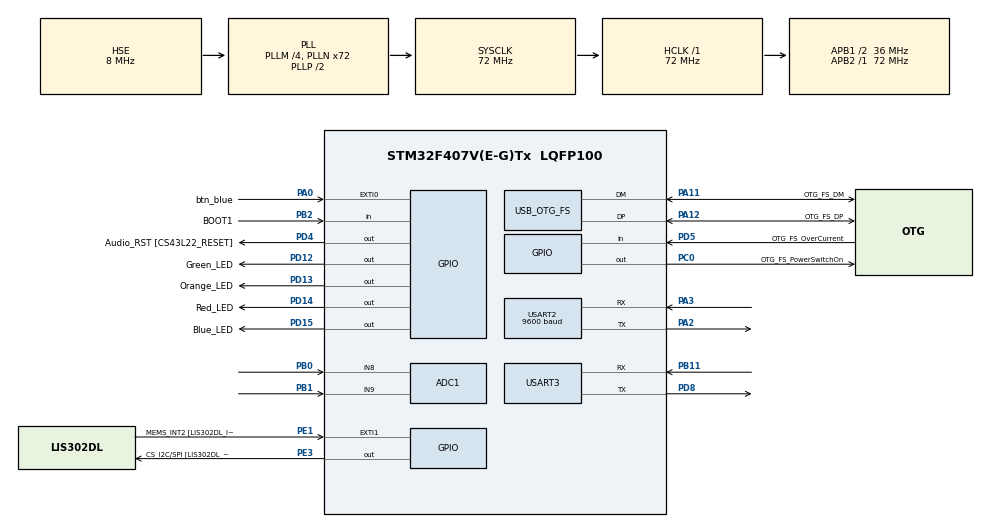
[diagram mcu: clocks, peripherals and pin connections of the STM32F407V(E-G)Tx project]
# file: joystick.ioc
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ADC1.Channel-6\#ChannelRegularConversion=ADC_CHANNEL_8
ADC1.Channel-7\#ChannelRegularConversion=ADC_CHANNEL_9
ADC1.NbrOfConversion=2
ADC1.NbrOfConversionFlag=1
ADC1.Rank-6\#ChannelRegularConversion=1
ADC1.Rank-7\#ChannelRegularConversion=2
ADC1.SamplingTime-6\#ChannelRegularConversion=ADC_SAMPLETIME_3CYCLES
ADC1.SamplingTime-7\#ChannelRegularConversion=ADC_SAMPLETIME_3CYCLES
ADC1.master=1
Mcu.Family=STM32F4
Mcu.Name=STM32F407V(E-G)Tx
Mcu.Package=LQFP100
NVIC.OTG_FS_IRQn=true\:0\:0\:false\:false\:true\:false\:true
NVIC.PriorityGroup=NVIC_PRIORITYGROUP_4
NVIC.TIM7_IRQn=true\:0\:0\:false\:false\:true\:false\:true
NVIC.TimeBase=TIM7_IRQn
NVIC.TimeBaseIP=TIM7
PA0-WKUP.GPIO_Label=btn_blue
PA0-WKUP.Signal=GPXTI0
PA10.GPIO_Label=OTG_FS_ID
PA10.GPIO_Mode=GPIO_MODE_AF_PP
PA10.GPIO_PuPd=GPIO_NOPULL
PA10.GPIO_Speed=GPIO_SPEED_FREQ_LOW
PA10.Signal=USB_OTG_FS_ID
PA11.GPIO_Label=OTG_FS_DM
PA11.GPIO_Mode=GPIO_MODE_AF_PP
PA11.GPIO_PuPd=GPIO_NOPULL
PA11.GPIO_Speed=GPIO_SPEED_FREQ_LOW
PA11.Mode=Device_Only
PA11.Signal=USB_OTG_FS_DM
PA12.GPIO_Label=OTG_FS_DP
PA12.GPIO_Mode=GPIO_MODE_AF_PP
PA12.GPIO_PuPd=GPIO_NOPULL
PA12.GPIO_Speed=GPIO_SPEED_FREQ_LOW
PA12.Mode=Device_Only
PA12.Signal=USB_OTG_FS_DP
PA13.GPIO_Label=SWDIO
PA13.Mode=Serial_Wire
PA13.Signal=SYS_JTMS-SWDIO
PA14.GPIO_Label=SWCLK
PA14.Mode=Serial_Wire
PA14.Signal=SYS_JTCK-SWCLK
PA2.Mode=Asynchronous
PA2.Signal=USART2_TX
PA3.Mode=Asynchronous
PA3.Signal=USART2_RX
PA4.GPIO_Label=I2S3_WS [CS43L22_LRCK]
PA4.GPIO_Mode=GPIO_MODE_AF_PP
PA4.GPIO_PuPd=GPIO_NOPULL
PA4.GPIO_Speed=GPIO_SPEED_FREQ_LOW
PA4.Signal=I2S3_WS
PA5.GPIO_Label=SPI1_SCK [LIS302DL_SCL/SPC]
PA5.GPIO_Mode=GPIO_MODE_AF_PP
PA5.GPIO_PuPd=GPIO_NOPULL
PA5.GPIO_Speed=GPIO_SPEED_FREQ_LOW
PA5.Signal=SPI1_SCK
PA6.GPIO_Label=SPI1_MISO [LIS302DL_SDO]
PA6.GPIO_Mode=GPIO_MODE_AF_PP
PA6.GPIO_PuPd=GPIO_NOPULL
PA6.GPIO_Speed=GPIO_SPEED_FREQ_LOW
PA6.Signal=SPI1_MISO
PA7.GPIO_Label=SPI1_MOSI [LIS302DL_SDA/SDI/SDO]
PA7.GPIO_Mode=GPIO_MODE_AF_PP
PA7.GPIO_PuPd=GPIO_NOPULL
PA7.GPIO_Speed=GPIO_SPEED_FREQ_LOW
PA7.Signal=SPI1_MOSI
PA9.GPIO_Label=VBUS_FS
PA9.GPIO_Mode=GPIO_MODE_INPUT
PA9.GPIO_PuPd=GPIO_NOPULL
PA9.Signal=USB_OTG_FS_VBUS
PB0.Signal=ADCx_IN8
PB1.Signal=ADCx_IN9
PB10.GPIO_Label=CLK_IN [MP45DT02_CLK]
PB10.GPIO_Mode=GPIO_MODE_AF_PP
PB10.GPIO_PuPd=GPIO_NOPULL
PB10.GPIO_Speed=GPIO_SPEED_FREQ_LOW
PB10.Signal=I2S2_CK
PB11.Mode=Asynchronous
PB11.Signal=USART3_RX
PB2.GPIO_Label=BOOT1
PB2.GPIO_Mode=GPIO_MODE_INPUT
PB2.GPIO_PuPd=GPIO_NOPULL
PB2.Signal=GPIO_Input
PB3.GPIO_Label=SWO
PB3.Signal=SYS_JTDO-SWO
PB6.GPIO_Label=Audio_SCL [CS43L22_SCL]
PB6.GPIO_Mode=GPIO_MODE_AF_OD
PB6.GPIO_PuPd=GPIO_NOPULL
PB6.GPIO_Speed=GPIO_SPEED_FREQ_LOW
PB6.Signal=I2C1_SCL
PB9.GPIO_Label=Audio_SDA [CS43L22_SDA]
PB9.GPIO_Mode=GPIO_MODE_AF_OD
PB9.GPIO_PuPd=GPIO_NOPULL
PB9.GPIO_Speed=GPIO_SPEED_FREQ_LOW
PB9.Signal=I2C1_SDA
PC0.GPIO_Label=OTG_FS_PowerSwitchOn
PC0.GPIO_PuPd=GPIO_NOPULL
PC0.GPIO_Speed=GPIO_SPEED_FREQ_LOW
PC0.PinState=GPIO_PIN_SET
PC0.Signal=GPIO_Output
PC10.GPIO_Label=I2S3_SCK [CS43L22_SCLK]
PC10.GPIO_Mode=GPIO_MODE_AF_PP
PC10.GPIO_PuPd=GPIO_NOPULL
PC10.GPIO_Speed=GPIO_SPEED_FREQ_LOW
PC10.Signal=I2S3_CK
PC12.GPIO_Label=I2S3_SD [CS43L22_SDIN]
PC12.GPIO_Mode=GPIO_MODE_AF_PP
PC12.GPIO_PuPd=GPIO_NOPULL
PC12.GPIO_Speed=GPIO_SPEED_FREQ_LOW
PC12.Signal=I2S3_SD
PC14-OSC32_IN.GPIO_Label=PC14-OSC32_IN
PC14-OSC32_IN.Signal=RCC_OSC32_IN
PC15-OSC32_OUT.GPIO_Label=PC15-OSC32_OUT
PC15-OSC32_OUT.Signal=RCC_OSC32_OUT
PC3.GPIO_Label=PDM_OUT [MP45DT02_DOUT]
PC3.GPIO_Mode=GPIO_MODE_AF_PP
PC3.GPIO_PuPd=GPIO_NOPULL
PC3.GPIO_Speed=GPIO_SPEED_FREQ_LOW
PC3.Signal=I2S2_SD
PC7.GPIO_Label=I2S3_MCK [CS43L22_MCLK]
PC7.GPIO_Mode=GPIO_MODE_AF_PP
PC7.GPIO_PuPd=GPIO_NOPULL
PC7.GPIO_Speed=GPIO_SPEED_FREQ_LOW
PC7.Signal=I2S3_MCK
PD12.GPIO_Label=Green_LED
PD12.GPIO_PuPd=GPIO_NOPULL
PD12.GPIO_Speed=GPIO_SPEED_FREQ_LOW
PD12.Signal=GPIO_Output
PD13.GPIO_Label=Orange_LED
PD13.GPIO_PuPd=GPIO_NOPULL
PD13.GPIO_Speed=GPIO_SPEED_FREQ_LOW
PD13.Signal=GPIO_Output
PD14.GPIO_Label=Red_LED
PD14.GPIO_PuPd=GPIO_NOPULL
PD14.GPIO_Speed=GPIO_SPEED_FREQ_LOW
PD14.Signal=GPIO_Output
PD15.GPIO_Label=Blue_LED
PD15.GPIO_PuPd=GPIO_NOPULL
PD15.GPIO_Speed=GPIO_SPEED_FREQ_LOW
PD15.Signal=GPIO_Output
PD4.GPIO_Label=Audio_RST [CS43L22_RESET]
PD4.GPIO_PuPd=GPIO_NOPULL
PD4.GPIO_Speed=GPIO_SPEED_FREQ_LOW
PD4.Signal=GPIO_Output
PD5.GPIO_Label=OTG_FS_OverCurrent
PD5.GPIO_Mode=GPIO_MODE_INPUT
PD5.GPIO_PuPd=GPIO_NOPULL
PD5.Signal=GPIO_Input
PD8.Mode=Asynchronous
PD8.Signal=USART3_TX
PE1.GPIO_Label=MEMS_INT2 [LIS302DL_INT2]
PE1.GPIO_ModeDefaultEXTI=GPIO_MODE_EVT_RISING
PE1.GPIO_PuPd=GPIO_NOPULL
PE1.Signal=GPXTI1
PE3.GPIO_Label=CS_I2C/SPI [LIS302DL_CS_I2C/SPI]
PE3.GPIO_PuPd=GPIO_NOPULL
PE3.GPIO_Speed=GPIO_SPEED_FREQ_LOW
PE3.Signal=GPIO_Output
PH0-OSC_IN.GPIO_Label=PH0-OSC_IN
PH0-OSC_IN.Mode=HSE-External-Oscillator
PH0-OSC_IN.Signal=RCC_OSC_IN
PH1-OSC_OUT.GPIO_Label=PH1-OSC_OUT
PH1-OSC_OUT.Mode=HSE-External-Oscillator
PH1-OSC_OUT.Signal=RCC_OSC_OUT
ProjectManager.HeapSize=0x200
ProjectManager.StackSize=0x400
ProjectManager.TargetToolchain=STM32CubeIDE
RCC.48MHZClocksFreq_Value=48000000
RCC.AHBFreq_Value=72000000
RCC.APB1CLKDivider=RCC_HCLK_DIV2
RCC.APB1Freq_Value=36000000
RCC.APB1TimFreq_Value=72000000
RCC.APB2Freq_Value=72000000
RCC.APB2TimFreq_Value=72000000
RCC.CortexFreq_Value=72000000
RCC.HCLKFreq_Value=72000000
RCC.HSE_VALUE=8000000
RCC.HSI_VALUE=16000000
RCC.LSE_VALUE=32768
RCC.PLLM=4
RCC.PLLN=72
RCC.PLLQ=3
RCC.SYSCLKFreq_VALUE=72000000
RCC.SYSCLKSource=RCC_SYSCLKSOURCE_PLLCLK
RCC.VCOOutputFreq_Value=144000000
SH.ADCx_IN8.0=ADC1_IN8,IN8
SH.ADCx_IN9.0=ADC1_IN9,IN9
USART2.BaudRate=9600
USART2.VirtualMode=VM_ASYNC
USART3.VirtualMode=VM_ASYNC
USB_DEVICE.CLASS_NAME_FS=HID
USB_DEVICE.VirtualMode-HID_FS=Hid
USB_DEVICE.VirtualModeFS=Hid_FS
USB_OTG_FS.VirtualMode=Device_Only
VP_SYS_VS_tim7.Mode=TIM7
VP_USB_DEVICE_VS_USB_DEVICE_HID_FS.Mode=HID_FS
board=STM32F407G-DISC1

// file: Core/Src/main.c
/* USER CODE BEGIN Header */
/**
  ******************************************************************************
  * @file           : main.c
  * @brief          : Main program body
  ******************************************************************************
  * @attention
  *
  * Copyright (c) 2022 STMicroelectronics.
  * All rights reserved.
  *
  * This software is licensed under terms that can be found in the LICENSE file
  * in the root directory of this software component.
  * If no LICENSE file comes with this software, it is provided AS-IS.
  *
  ******************************************************************************
  */
/* USER CODE END Header */
#include "main.h"
#include "usb_device.h"

/* USER CODE BEGIN Includes */
#include "FreeRTOS.h"
#include "task.h"
#include "queue.h"
#include "usbd_hid.h"
#include "semphr.h"
/* USER CODE END Includes */

ADC_HandleTypeDef hadc1;

UART_HandleTypeDef huart2;
UART_HandleTypeDef huart3;

/* USER CODE BEGIN PV */
//uint16_t readValueX;
//uint16_t readValueY;
uint32_t joy[]={0,0};
char Rx_data[4];
/* USER CODE END PV */

void SystemClock_Config(void);
static void MX_GPIO_Init(void);
static void MX_USART2_UART_Init(void);
static void MX_ADC1_Init(void);
static void MX_USART3_UART_Init(void);

/* USER CODE BEGIN 0 */
unsigned char keyState;
unsigned char keyStateLast;
int cnt;
SemaphoreHandle_t xSemaphore =NULL;
extern USBD_HandleTypeDef hUsbDeviceFS;

extern uint8_t USBD_HID_SendReport (USBD_HandleTypeDef *pdev,
                                 uint8_t *report,
                                 uint16_t len);
typedef struct
{
	char mouse_abs_left : 1;	//鼠�?�左?��??�击
	char mouse_abs_right : 1;	//鼠�?�右?��??�击
	char mouse_abs_wheel : 1;	//鼠�?�中?��??�击
	char reserve : 5;			//常�??0
	char mouse_rel_x;			//鼠�?�X轴移?��??
	char mouse_rel_y;			//鼠�?�Y轴移?��??
	char mouse_rel_wheel;		//鼠�?��?�轮移动??
}tyMouse_buff;

#define KEY0_Press	(1 << 0)
#define KEY1_Press	(1 << 1)
#define KEY2_Press	(1 << 2)
#define KEY3_Press	(1 << 3)
#define KEY4_Press	(1 << 4)
#define KEY5_Press	(1 << 5)

tyMouse_buff tMouse_buff;

void User_Init(void)
{
	tMouse_buff.mouse_abs_left = 0;
	tMouse_buff.mouse_abs_right = 0;
	tMouse_buff.mouse_abs_wheel = 0;
	tMouse_buff.reserve = 0;
	tMouse_buff.mouse_rel_x = 0;
	tMouse_buff.mouse_rel_y = 0;
	tMouse_buff.mouse_rel_wheel = 0;
}
//unsigned char Get_Key_State(void)
//{
//	unsigned char keyState = 0;
//
//	if(HAL_GPIO_ReadPin(btn_blue_GPIO_Port,btn_blue_Pin) )
//	{
//
//		keyState |= KEY2_Press;
//	}
//
//	return keyState;
//}

unsigned char Get_Key_State(void)
{
	unsigned char keyState = 0;

	//HAL_ADC_Start_DMA(&hadc1, joy, 2);

	 if (Rx_data[0]=='a'||Rx_data[1]=='a'||Rx_data[2]=='a'){  //up
		 keyState |= KEY2_Press;
	 }

	  if (Rx_data[0]=='b'||Rx_data[1]=='b'||Rx_data[2]=='b'){  //down
		  keyState |= KEY0_Press;
	  }
	  if (Rx_data[0]=='c'||Rx_data[1]=='c'||Rx_data[2]=='c'){  //right
		  keyState |= KEY1_Press;
	  }
	  if (Rx_data[0]=='d'||Rx_data[1]=='d'||Rx_data[2]=='d'){  //left
		  keyState |= KEY3_Press;
	  }
	  if (Rx_data[0]=='e'||Rx_data[1]=='e'||Rx_data[2]=='e'){  //left button
		  keyState |= KEY4_Press;
	  }
	  if (Rx_data[0]=='f'||Rx_data[1]=='f'||Rx_data[2]=='f'){  //right button
	 	  	keyState |= KEY5_Press;
	 }

	return keyState;
}

//unsigned char Get_Key_State(void)
//{
//	unsigned char keyState = 0;
//
//	if(HAL_GPIO_ReadPin(btn_blue_GPIO_Port,btn_blue_Pin) )
//	{
//
//		keyState |= KEY0_Press;
//	}
//
//	return keyState;
//}

void Send_mouse_msg(void)
{
	USBD_HID_SendReport(&hUsbDeviceFS, (uint8_t *)&tMouse_buff, sizeof(tMouse_buff));
//	char MonitorTset[30];
//	memset(MonitorTset,'\0',sizeof(MonitorTset));
//	sprintf(MonitorTset,"hi\n\r");
	//HAL_UART_Transmit(&huart2,(uint8_t *)&tMouse_buff,sizeof(tMouse_buff),0xffff);
}

void mouse(void *pvParameters){
	while(1)
	{
		if ( xSemaphoreTake(xSemaphore, 0xffff) == pdTRUE ){
			User_Init();
			while ((keyState = Get_Key_State()) != 0)
			{
				keyStateLast = keyState;
				if (keyState & KEY0_Press)
				{
					tMouse_buff.mouse_rel_y = -3;
				}
				else if (keyState & KEY2_Press)
				{
					tMouse_buff.mouse_rel_y = 3;
				}
				else
				{
					tMouse_buff.mouse_rel_y = 0;
				}

				if (keyState & KEY1_Press)
				{
					tMouse_buff.mouse_rel_x = -3;
				}
				else if (keyState & KEY3_Press)
				{
					tMouse_buff.mouse_rel_x = 3;
				}
				else
				{
					tMouse_buff.mouse_rel_x = 0;
				}

				if (keyState & KEY4_Press)
				{
					tMouse_buff.mouse_abs_left = -1;
				}
				else
				{
					tMouse_buff.mouse_abs_left = 0;
				}
				if (keyState & KEY5_Press)
				{
					tMouse_buff.mouse_abs_right = 1;
				}
				else
				{
					tMouse_buff.mouse_abs_right = 0;
				}
				Send_mouse_msg();
				memset(Rx_data,'\0',sizeof(Rx_data));
				vTaskDelay(1);
				tMouse_buff.mouse_rel_x = 0;
				tMouse_buff.mouse_rel_y = 0;
				tMouse_buff.mouse_abs_left = 0;
				tMouse_buff.mouse_abs_right = 0;
				Send_mouse_msg();

			}
			tMouse_buff.mouse_rel_x = 0;
			tMouse_buff.mouse_rel_y = 0;
			tMouse_buff.mouse_abs_left = 0;
			tMouse_buff.mouse_abs_right = 0;
			Send_mouse_msg();
		}
		xSemaphoreGive(xSemaphore);
		vTaskDelay(1);

		//taskYIELD();
	}
}

void blerec(void *pvParameters){
	while(1){
		if ( xSemaphoreTake(xSemaphore, 0xffff) == pdTRUE ) {
			int num =0;
			User_Init();
			memset(Rx_data,'\0',sizeof(Rx_data));
			sprintf(Rx_data,"T\r\n");

			HAL_UART_Receive(&huart2, (uint8_t *)Rx_data, strlen(Rx_data),0xffff);
			//vTaskDelay(10);
			//HAL_UART_Transmit(&huart3,(uint8_t *)Rx_data,strlen(Rx_data),0xffff);

//			vTaskDelay(100);
			num += 1;

//			if(HAL_GPIO_ReadPin(btn_blue_GPIO_Port,btn_blue_Pin) )
//			{
//
//				Rx_data[0] = 'a';
//			}else{
//				Rx_data[0] = 'e';
//			}
			//taskYIELD();
		}
		xSemaphoreGive(xSemaphore);
		vTaskDelay(1);
	}
}

/* USER CODE END 0 */

int main(void)
{

  /* MCU Configuration--------------------------------------------------------*/

  /* Reset of all peripherals, Initializes the Flash interface and the Systick. */
  HAL_Init();

  /* Configure the system clock */
  SystemClock_Config();

  /* Initialize all configured peripherals */
  MX_GPIO_Init();
  MX_USART2_UART_Init();
  MX_ADC1_Init();
  MX_USB_DEVICE_Init();
  MX_USART3_UART_Init();
  /* USER CODE BEGIN 2 */

  xSemaphore=xSemaphoreCreateBinary();
  xSemaphoreGive(xSemaphore);
  xTaskCreate(mouse,"mouse",4096,NULL,1,NULL);
  xTaskCreate(blerec,"blerec",4096,NULL,1,NULL);

  vTaskStartScheduler();
  /* USER CODE END 2 */

  /* Infinite loop */
  while (1)
  {

  }
}

void SystemClock_Config(void)
{
  RCC_OscInitTypeDef RCC_OscInitStruct = {0};
  RCC_ClkInitTypeDef RCC_ClkInitStruct = {0};

  /** Configure the main internal regulator output voltage
  */
  __HAL_RCC_PWR_CLK_ENABLE();
  __HAL_PWR_VOLTAGESCALING_CONFIG(PWR_REGULATOR_VOLTAGE_SCALE1);
  /** Initializes the RCC Oscillators according to the specified parameters
  * in the RCC_OscInitTypeDef structure.
  */
  RCC_OscInitStruct.OscillatorType = RCC_OSCILLATORTYPE_HSE;
  RCC_OscInitStruct.HSEState = RCC_HSE_ON;
  RCC_OscInitStruct.PLL.PLLState = RCC_PLL_ON;
  RCC_OscInitStruct.PLL.PLLSource = RCC_PLLSOURCE_HSE;
  RCC_OscInitStruct.PLL.PLLM = 4;
  RCC_OscInitStruct.PLL.PLLN = 72;
  RCC_OscInitStruct.PLL.PLLP = RCC_PLLP_DIV2;
  RCC_OscInitStruct.PLL.PLLQ = 3;
  if (HAL_RCC_OscConfig(&RCC_OscInitStruct) != HAL_OK)
  {
    Error_Handler();
  }
  /** Initializes the CPU, AHB and APB buses clocks
  */
  RCC_ClkInitStruct.ClockType = RCC_CLOCKTYPE_HCLK|RCC_CLOCKTYPE_SYSCLK
                              |RCC_CLOCKTYPE_PCLK1|RCC_CLOCKTYPE_PCLK2;
  RCC_ClkInitStruct.SYSCLKSource = RCC_SYSCLKSOURCE_PLLCLK;
  RCC_ClkInitStruct.AHBCLKDivider = RCC_SYSCLK_DIV1;
  RCC_ClkInitStruct.APB1CLKDivider = RCC_HCLK_DIV2;
  RCC_ClkInitStruct.APB2CLKDivider = RCC_HCLK_DIV1;

  if (HAL_RCC_ClockConfig(&RCC_ClkInitStruct, FLASH_LATENCY_2) != HAL_OK)
  {
    Error_Handler();
  }
}

static void MX_ADC1_Init(void)
{

  ADC_ChannelConfTypeDef sConfig = {0};

  /** Configure the global features of the ADC (Clock, Resolution, Data Alignment and number of conversion)
  */
  hadc1.Instance = ADC1;
  hadc1.Init.ClockPrescaler = ADC_CLOCK_SYNC_PCLK_DIV2;
  hadc1.Init.Resolution = ADC_RESOLUTION_12B;
  hadc1.Init.ScanConvMode = ENABLE;
  hadc1.Init.ContinuousConvMode = DISABLE;
  hadc1.Init.DiscontinuousConvMode = DISABLE;
  hadc1.Init.ExternalTrigConvEdge = ADC_EXTERNALTRIGCONVEDGE_NONE;
  hadc1.Init.ExternalTrigConv = ADC_SOFTWARE_START;
  hadc1.Init.DataAlign = ADC_DATAALIGN_RIGHT;
  hadc1.Init.NbrOfConversion = 2;
  hadc1.Init.DMAContinuousRequests = DISABLE;
  hadc1.Init.EOCSelection = ADC_EOC_SINGLE_CONV;
  if (HAL_ADC_Init(&hadc1) != HAL_OK)
  {
    Error_Handler();
  }
  /** Configure for the selected ADC regular channel its corresponding rank in the sequencer and its sample time.
  */
  sConfig.Channel = ADC_CHANNEL_8;
  sConfig.Rank = 1;
  sConfig.SamplingTime = ADC_SAMPLETIME_3CYCLES;
  if (HAL_ADC_ConfigChannel(&hadc1, &sConfig) != HAL_OK)
  {
    Error_Handler();
  }
  /** Configure for the selected ADC regular channel its corresponding rank in the sequencer and its sample time.
  */
  sConfig.Channel = ADC_CHANNEL_9;
  sConfig.Rank = 2;
  if (HAL_ADC_ConfigChannel(&hadc1, &sConfig) != HAL_OK)
  {
    Error_Handler();
  }

}

static void MX_USART2_UART_Init(void)
{

  huart2.Instance = USART2;
  huart2.Init.BaudRate = 9600;
  huart2.Init.WordLength = UART_WORDLENGTH_8B;
  huart2.Init.StopBits = UART_STOPBITS_1;
  huart2.Init.Parity = UART_PARITY_NONE;
  huart2.Init.Mode = UART_MODE_TX_RX;
  huart2.Init.HwFlowCtl = UART_HWCONTROL_NONE;
  huart2.Init.OverSampling = UART_OVERSAMPLING_16;
  if (HAL_UART_Init(&huart2) != HAL_OK)
  {
    Error_Handler();
  }

}

static void MX_USART3_UART_Init(void)
{

  huart3.Instance = USART3;
  huart3.Init.BaudRate = 115200;
  huart3.Init.WordLength = UART_WORDLENGTH_8B;
  huart3.Init.StopBits = UART_STOPBITS_1;
  huart3.Init.Parity = UART_PARITY_NONE;
  huart3.Init.Mode = UART_MODE_TX_RX;
  huart3.Init.HwFlowCtl = UART_HWCONTROL_NONE;
  huart3.Init.OverSampling = UART_OVERSAMPLING_16;
  if (HAL_UART_Init(&huart3) != HAL_OK)
  {
    Error_Handler();
  }

}

static void MX_GPIO_Init(void)
{
  GPIO_InitTypeDef GPIO_InitStruct = {0};

  /* GPIO Ports Clock Enable */
  __HAL_RCC_GPIOE_CLK_ENABLE();
  __HAL_RCC_GPIOC_CLK_ENABLE();
  __HAL_RCC_GPIOH_CLK_ENABLE();
  __HAL_RCC_GPIOA_CLK_ENABLE();
  __HAL_RCC_GPIOB_CLK_ENABLE();
  __HAL_RCC_GPIOD_CLK_ENABLE();

  /*Configure GPIO pin Output Level */
  HAL_GPIO_WritePin(CS_I2C_SPI_GPIO_Port, CS_I2C_SPI_Pin, GPIO_PIN_RESET);

  /*Configure GPIO pin Output Level */
  HAL_GPIO_WritePin(OTG_FS_PowerSwitchOn_GPIO_Port, OTG_FS_PowerSwitchOn_Pin, GPIO_PIN_SET);

  /*Configure GPIO pin Output Level */
  HAL_GPIO_WritePin(GPIOD, Green_LED_Pin|Orange_LED_Pin|Red_LED_Pin|Blue_LED_Pin
                          |Audio_RST_Pin, GPIO_PIN_RESET);

  /*Configure GPIO pin : CS_I2C_SPI_Pin */
  GPIO_InitStruct.Pin = CS_I2C_SPI_Pin;
  GPIO_InitStruct.Mode = GPIO_MODE_OUTPUT_PP;
  GPIO_InitStruct.Pull = GPIO_NOPULL;
  GPIO_InitStruct.Speed = GPIO_SPEED_FREQ_LOW;
  HAL_GPIO_Init(CS_I2C_SPI_GPIO_Port, &GPIO_InitStruct);

  /*Configure GPIO pin : OTG_FS_PowerSwitchOn_Pin */
  GPIO_InitStruct.Pin = OTG_FS_PowerSwitchOn_Pin;
  GPIO_InitStruct.Mode = GPIO_MODE_OUTPUT_PP;
  GPIO_InitStruct.Pull = GPIO_NOPULL;
  GPIO_InitStruct.Speed = GPIO_SPEED_FREQ_LOW;
  HAL_GPIO_Init(OTG_FS_PowerSwitchOn_GPIO_Port, &GPIO_InitStruct);

  /*Configure GPIO pin : PDM_OUT_Pin */
  GPIO_InitStruct.Pin = PDM_OUT_Pin;
  GPIO_InitStruct.Mode = GPIO_MODE_AF_PP;
  GPIO_InitStruct.Pull = GPIO_NOPULL;
  GPIO_InitStruct.Speed = GPIO_SPEED_FREQ_LOW;
  GPIO_InitStruct.Alternate = GPIO_AF5_SPI2;
  HAL_GPIO_Init(PDM_OUT_GPIO_Port, &GPIO_InitStruct);

  /*Configure GPIO pin : btn_blue_Pin */
  GPIO_InitStruct.Pin = btn_blue_Pin;
  GPIO_InitStruct.Mode = GPIO_MODE_IT_RISING;
  GPIO_InitStruct.Pull = GPIO_NOPULL;
  HAL_GPIO_Init(btn_blue_GPIO_Port, &GPIO_InitStruct);

  /*Configure GPIO pin : I2S3_WS_Pin */
  GPIO_InitStruct.Pin = I2S3_WS_Pin;
  GPIO_InitStruct.Mode = GPIO_MODE_AF_PP;
  GPIO_InitStruct.Pull = GPIO_NOPULL;
  GPIO_InitStruct.Speed = GPIO_SPEED_FREQ_LOW;
  GPIO_InitStruct.Alternate = GPIO_AF6_SPI3;
  HAL_GPIO_Init(I2S3_WS_GPIO_Port, &GPIO_InitStruct);

  /*Configure GPIO pins : SPI1_SCK_Pin SPI1_MISO_Pin SPI1_MOSI_Pin */
  GPIO_InitStruct.Pin = SPI1_SCK_Pin|SPI1_MISO_Pin|SPI1_MOSI_Pin;
  GPIO_InitStruct.Mode = GPIO_MODE_AF_PP;
  GPIO_InitStruct.Pull = GPIO_NOPULL;
  GPIO_InitStruct.Speed = GPIO_SPEED_FREQ_LOW;
  GPIO_InitStruct.Alternate = GPIO_AF5_SPI1;
  HAL_GPIO_Init(GPIOA, &GPIO_InitStruct);

  /*Configure GPIO pin : BOOT1_Pin */
  GPIO_InitStruct.Pin = BOOT1_Pin;
  GPIO_InitStruct.Mode = GPIO_MODE_INPUT;
  GPIO_InitStruct.Pull = GPIO_NOPULL;
  HAL_GPIO_Init(BOOT1_GPIO_Port, &GPIO_InitStruct);

  /*Configure GPIO pin : CLK_IN_Pin */
  GPIO_InitStruct.Pin = CLK_IN_Pin;
  GPIO_InitStruct.Mode = GPIO_MODE_AF_PP;
  GPIO_InitStruct.Pull = GPIO_NOPULL;
  GPIO_InitStruct.Speed = GPIO_SPEED_FREQ_LOW;
  GPIO_InitStruct.Alternate = GPIO_AF5_SPI2;
  HAL_GPIO_Init(CLK_IN_GPIO_Port, &GPIO_InitStruct);

  /*Configure GPIO pins : Green_LED_Pin Orange_LED_Pin Red_LED_Pin Blue_LED_Pin
                           Audio_RST_Pin */
  GPIO_InitStruct.Pin = Green_LED_Pin|Orange_LED_Pin|Red_LED_Pin|Blue_LED_Pin
                          |Audio_RST_Pin;
  GPIO_InitStruct.Mode = GPIO_MODE_OUTPUT_PP;
  GPIO_InitStruct.Pull = GPIO_NOPULL;
  GPIO_InitStruct.Speed = GPIO_SPEED_FREQ_LOW;
  HAL_GPIO_Init(GPIOD, &GPIO_InitStruct);

  /*Configure GPIO pins : I2S3_MCK_Pin I2S3_SCK_Pin I2S3_SD_Pin */
  GPIO_InitStruct.Pin = I2S3_MCK_Pin|I2S3_SCK_Pin|I2S3_SD_Pin;
  GPIO_InitStruct.Mode = GPIO_MODE_AF_PP;
  GPIO_InitStruct.Pull = GPIO_NOPULL;
  GPIO_InitStruct.Speed = GPIO_SPEED_FREQ_LOW;
  GPIO_InitStruct.Alternate = GPIO_AF6_SPI3;
  HAL_GPIO_Init(GPIOC, &GPIO_InitStruct);

  /*Configure GPIO pin : OTG_FS_OverCurrent_Pin */
  GPIO_InitStruct.Pin = OTG_FS_OverCurrent_Pin;
  GPIO_InitStruct.Mode = GPIO_MODE_INPUT;
  GPIO_InitStruct.Pull = GPIO_NOPULL;
  HAL_GPIO_Init(OTG_FS_OverCurrent_GPIO_Port, &GPIO_InitStruct);

  /*Configure GPIO pins : Audio_SCL_Pin Audio_SDA_Pin */
  GPIO_InitStruct.Pin = Audio_SCL_Pin|Audio_SDA_Pin;
  GPIO_InitStruct.Mode = GPIO_MODE_AF_OD;
  GPIO_InitStruct.Pull = GPIO_NOPULL;
  GPIO_InitStruct.Speed = GPIO_SPEED_FREQ_LOW;
  GPIO_InitStruct.Alternate = GPIO_AF4_I2C1;
  HAL_GPIO_Init(GPIOB, &GPIO_InitStruct);

  /*Configure GPIO pin : MEMS_INT2_Pin */
  GPIO_InitStruct.Pin = MEMS_INT2_Pin;
  GPIO_InitStruct.Mode = GPIO_MODE_EVT_RISING;
  GPIO_InitStruct.Pull = GPIO_NOPULL;
  HAL_GPIO_Init(MEMS_INT2_GPIO_Port, &GPIO_InitStruct);

}

void HAL_TIM_PeriodElapsedCallback(TIM_HandleTypeDef *htim)
{
  if (htim->Instance == TIM7) {
    HAL_IncTick();
  }
}

void Error_Handler(void)
{
  __disable_irq();
  while (1)
  {
  }
}
